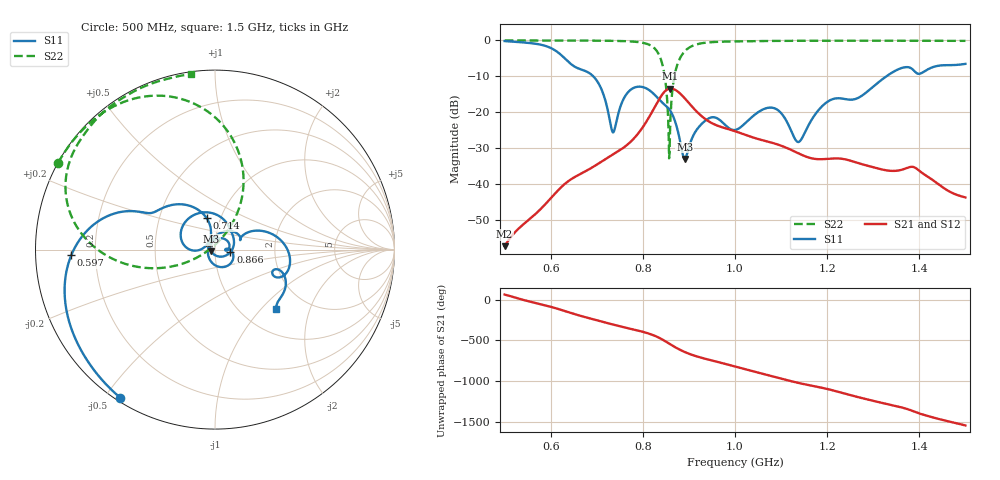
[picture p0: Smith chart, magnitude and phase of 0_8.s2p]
! TOUCHSTONE file generated by CST MICROWAVE STUDIO
! Date and time: Sat Oct 24 11:12:06 2020
! Project name: Scenario_1_Circular_Tissue_in_Line.cst
! Parameters = {L_HA=400; MT=2.54; Rad_Dielectric=30; Rad_Lower=7.3; Rad_Upper=30; a_HA=580; a_WG=246; b_HA=500; b_WG=121; c_HA=0; c_WG=187; d_feed=85; dx1=294.24; h_feed=15; h_lower=18; h_upper=40}
! Header version: 2018
! Port assignment regex: !\s*Touchstone port\s*([0-9]+)\s*=\s*(CST MWS port|CST DS port)\s*([0-9]+|Zmin|Zmax)\s*\(\"(.*)\"\)(\s*mode\s*([0-9]+))?.*
! Touchstone port assignment:
! Touchstone port 1 = CST MWS port 1 ("")
! Touchstone port 2 = CST MWS port 2 ("")
# GHz S DB R 50
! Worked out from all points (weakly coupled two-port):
!   1003 points, 500 MHz to 1.5 GHz, reference 50 ohm
!   highest |S21| = -13.40 dB at 860 MHz (marker M1); lowest = -57.3 dB at 500 MHz (marker M2)
!   lowest |S11| = -33.0 dB at 891 MHz (marker M3), VSWR 1.05, Z = 48 - j0.987 ohm
!   |S11| at or under -10 dB: 692.5 MHz to 1.328 GHz (636 MHz wide, 62.9 % of centre)
!   |S22| runs from -32.8 to 0.0 dB; largest |S21 - S12| = 0.00061
!   S11 on the Smith chart (normalised r, x): 500 MHz: 0.01, -0.55; 597 MHz: 0.11, -0.02; 714 MHz: 0.86, +0.31; 866 MHz: 1.19, -0.03; 1.5 GHz: 1.42, -1.20
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0.5  -0.18 -122.6  -57.29 66.8  -57.17 66.7  -0.01 151.1
0.597  -1.92 -177.7  -44.40 -79.9  -44.40 -79.9  -0.02 144.3
0.625  -4.32 161.2  -40.60 -126.4  -40.60 -126.4  -0.02 142.1
0.667  -8.13 147.2  -37.02 160.3  -37.02 160.3  -0.04 138.3
0.714  -14.85 104.9  -33.44 88.6  -33.45 88.6  -0.08 133.1
0.736  -25.60 147.7  -31.70 55.5  -31.72 55.5  -0.12 129.9
0.776  -13.51 154.8  -27.90 0.7  -27.91 0.8  -0.30 121.4
0.814  -13.85 93.8  -21.26 -57.1  -21.26 -57.1  -1.21 103.8
0.834  -16.27 61.0  -16.70 -103.0  -16.70 -103.0  -3.72 83.0
0.847  -17.86 40.0  -14.28 -143.6  -14.28 -143.6  -9.58 62.9
0.855  -18.80 22.8  -13.54 -171.5  -13.53 -171.5  -22.12 59.1
0.86  -19.66 9.4  -13.40 171.0  -13.40 171.0  -21.44 -157.9
0.866  -21.18 -9.0  -13.52 150.6  -13.52 150.6  -11.87 -158.5
0.891  -33.01 -152.7  -16.12 77.7  -16.13 77.6  -3.02 176.4
0.942  -21.77 43.1  -22.45 -15.5  -22.45 -15.5  -0.56 151.1
1  -24.94 -0.5  -25.28 -101.3  -25.29 -101.3  -0.27 140.0
1.081  -18.74 -46.3  -28.52 138.4  -28.51 138.4  -0.14 131.4
1.138  -28.27 165.0  -31.46 55.8  -31.40 55.7  -0.10 126.4
1.167  -21.95 83.8  -32.85 21.5  -33.04 21.3  -0.09 124.1
1.334  -9.51 14.5  -36.27 150.3  -36.27 150.3  -0.08 111.4
1.388  -8.35 -24.0  -35.27 64.2  -35.27 64.2  -0.10 107.2
1.5  -6.53 -44.3  -43.72 -108.6  -43.73 -108.6  -0.12 97.8
